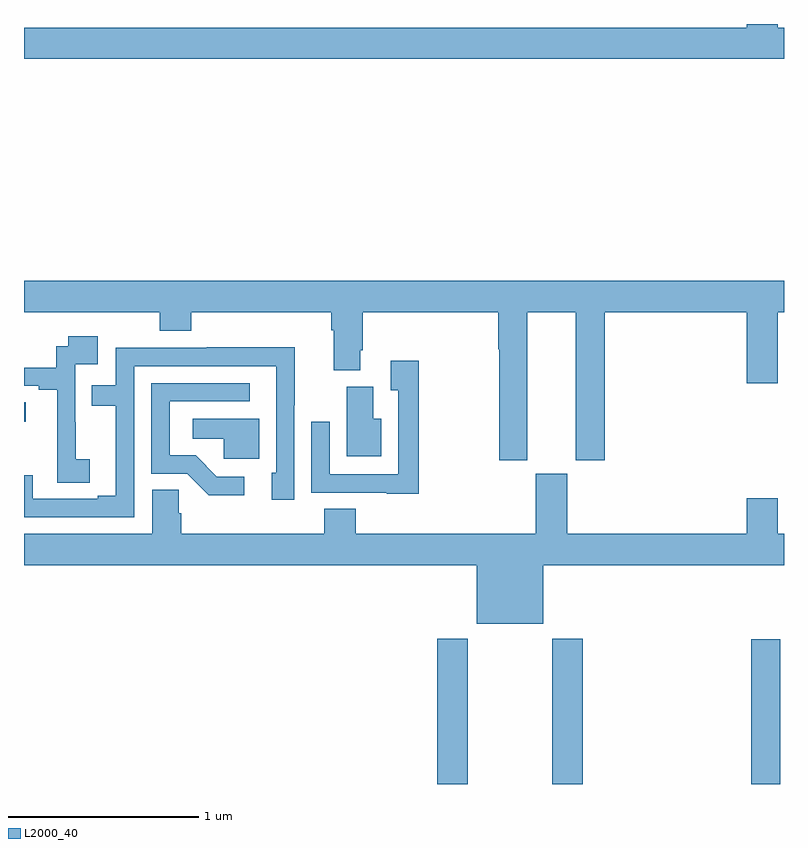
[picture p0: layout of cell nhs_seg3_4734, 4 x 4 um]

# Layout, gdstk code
import gdstk
lib = gdstk.Library(unit=1e-6, precision=1e-09)
def R(c, l, rs):  # rectangles x0, y0, x1, y1
    for r in rs: c.add(gdstk.rectangle(r[:2], r[2:], *l))
def P(c, l, *ps):  # polygons
    for p in ps: c.add(gdstk.Polygon(p, *l))
L2000_40 = (2000, 40)

nhs_seg3_4734 = lib.new_cell('nhs_seg3_4734')
R(nhs_seg3_4734, L2000_40, [(367.175,730.4,367.335,731.164), (367.78,730.4,367.94,731.164), (368.828,730.4,368.98,731.163), (365,732.307,365.008,732.41)])
P(nhs_seg3_4734, L2000_40, [(369,734.38),(368.968,734.38),(368.968,734.4),(368.804,734.4),(368.804,734.38),(365,734.38),(365,734.216),(369,734.216)],
  [(365,732.884),(365.714,732.884),(365.714,732.785),(365.879,732.785),(365.879,732.884),(366.617,732.884),(366.617,732.788),(366.629,732.788),(366.629,732.577),(366.769,732.577),(366.769,732.682),(366.782,732.682),(366.782,732.884),(367.496,732.884),(367.496,732.688),(367.501,732.688),(367.501,732.105),(367.648,732.105),(367.648,732.884),(367.904,732.884),(367.904,732.105),(368.057,732.105),(368.057,732.884),(368.804,732.884),(368.804,732.51),(368.968,732.51),(368.968,732.884),(369,732.884),(369,733.048),(365,733.048)],
  [(365.347,732.108),(365.273,732.108),(365.273,732.305),(365.271,732.305),(365.271,732.609),(365.389,732.609),(365.389,732.757),(365.233,732.757),(365.233,732.705),(365.17,732.705),(365.17,732.591),(365,732.591),(365,732.495),(365.078,732.495),(365.078,732.475),(365.174,732.475),(365.174,732.097),(365.176,732.097),(365.176,731.986),(365.347,731.986)],
  [(365.58,732.6),(366.327,732.6),(366.327,732.039),(366.305,732.039),(366.305,731.895),(366.423,731.895),(366.423,732.394),(366.425,732.394),(366.425,732.698),(365.962,732.698),(365.962,732.696),(365.484,732.696),(365.484,732.498),(365.356,732.498),(365.356,732.39),(365.483,732.39),(365.483,731.916),(365.387,731.916),(365.387,731.901),(365.046,731.901),(365.046,732.024),(365,732.024),(365,731.805),(365.58,731.805)],
  [(367.078,732.628),(366.929,732.628),(366.929,732.472),(366.969,732.472),(366.969,732.03),(366.609,732.03),(366.609,732.307),(366.513,732.307),(366.513,731.934),(366.909,731.934),(366.909,731.927),(367.078,731.927)],
  [(366.16,732.018),(366.015,732.018),(365.904,732.129),(365.766,732.129),(365.766,732.414),(366.187,732.414),(366.187,732.51),(365.67,732.51),(365.67,732.033),(365.859,732.033),(365.972,731.921),(366.16,731.921)],
  [(366.88,732.322),(366.838,732.322),(366.838,732.492),(366.698,732.492),(366.698,732.125),(366.88,732.125)],
  [(366.238,732.322),(365.889,732.322),(365.889,732.218),(366.051,732.218),(366.051,732.111),(366.238,732.111)],
  [(367.732,731.552),(369,731.552),(369,731.716),(368.968,731.716),(368.968,731.905),(368.804,731.905),(368.804,731.716),(367.858,731.716),(367.858,732.033),(367.694,732.033),(367.694,731.716),(366.746,731.716),(366.746,731.849),(366.581,731.849),(366.581,731.716),(365.828,731.716),(365.828,731.825),(365.814,731.825),(365.814,731.948),(365.675,731.948),(365.675,731.716),(365,731.716),(365,731.552),(367.382,731.552),(367.382,731.243),(367.732,731.243)])

lib.write_gds('nhs_seg3_4734.gds')
